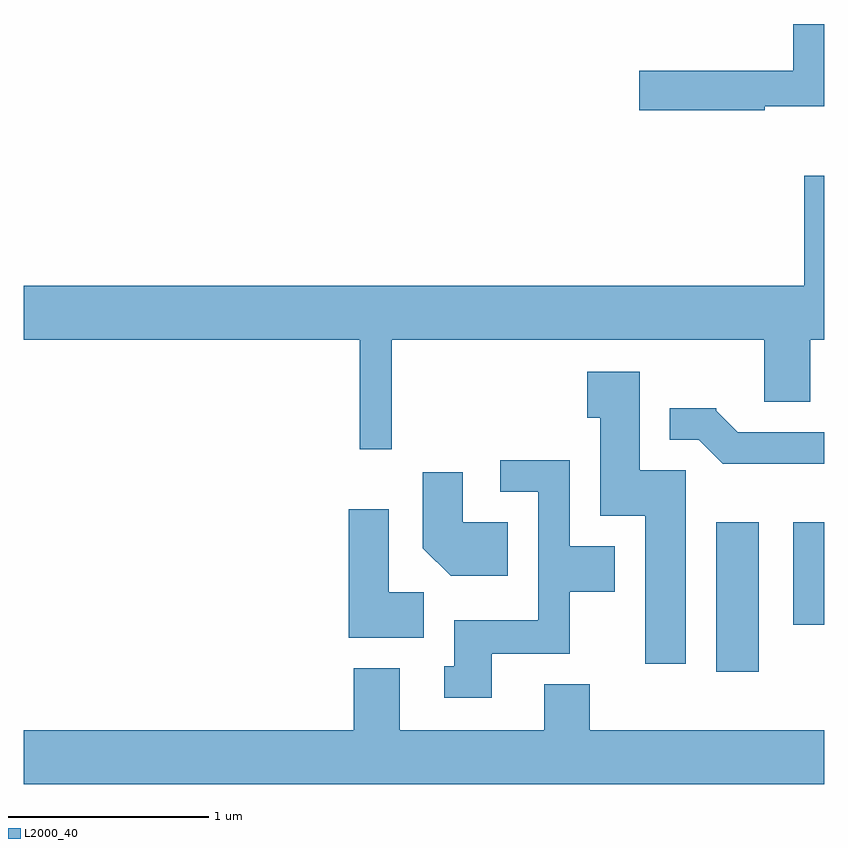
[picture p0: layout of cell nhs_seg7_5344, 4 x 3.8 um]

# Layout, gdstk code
import gdstk
lib = gdstk.Library(unit=1e-6, precision=1e-09)
def R(c, l, rs):  # rectangles x0, y0, x1, y1
    for r in rs: c.add(gdstk.rectangle(r[:2], r[2:], *l))
def P(c, l, *ps):  # polygons
    for p in ps: c.add(gdstk.Polygon(p, *l))
L2000_40 = (2000, 40)

nhs_seg7_5344 = lib.new_cell('nhs_seg7_5344')
R(nhs_seg7_5344, L2000_40, [(351.071,1797.016,351.284,1797.764), (351.456,1797.251,351.611,1797.764)])
P(nhs_seg7_5344, L2000_40, [(351.314,1799.841),(351.611,1799.841),(351.611,1800.252),(351.456,1800.252),(351.456,1800.019),(350.686,1800.019),(350.686,1799.821),(351.314,1799.821)],
  [(349.449,1798.676),(351.311,1798.676),(351.311,1798.366),(351.539,1798.366),(351.539,1798.676),(351.611,1798.676),(351.611,1799.493),(351.511,1799.493),(351.511,1798.944),(347.611,1798.944),(347.611,1798.676),(349.291,1798.676),(349.291,1798.128),(349.449,1798.128)],
  [(350.919,1798.024),(350.689,1798.024),(350.689,1798.514),(350.426,1798.514),(350.426,1798.286),(350.491,1798.286),(350.491,1797.796),(350.716,1797.796),(350.716,1797.056),(350.919,1797.056)],
  [(351.611,1798.214),(351.177,1798.214),(351.07,1798.321),(351.07,1798.334),(350.838,1798.334),(350.838,1798.176),(350.984,1798.176),(351.104,1798.056),(351.611,1798.056)],
  [(349.949,1797.106),(350.339,1797.106),(350.339,1797.416),(350.564,1797.416),(350.564,1797.644),(350.339,1797.644),(350.339,1798.074),(349.993,1798.074),(349.993,1797.916),(350.181,1797.916),(350.181,1797.274),(349.761,1797.274),(349.761,1797.044),(349.713,1797.044),(349.713,1796.886),(349.949,1796.886)],
  [(350.029,1797.764),(349.804,1797.764),(349.804,1798.014),(349.606,1798.014),(349.606,1797.634),(349.744,1797.496),(350.029,1797.496)],
  [(349.609,1797.414),(349.434,1797.414),(349.434,1797.829),(349.236,1797.829),(349.236,1797.186),(349.609,1797.186)],
  [(351.611,1796.724),(350.439,1796.724),(350.439,1796.954),(350.211,1796.954),(350.211,1796.724),(349.489,1796.724),(349.489,1797.034),(349.261,1797.034),(349.261,1796.724),(347.611,1796.724),(347.611,1796.456),(351.611,1796.456)])

lib.write_gds('nhs_seg7_5344.gds')
